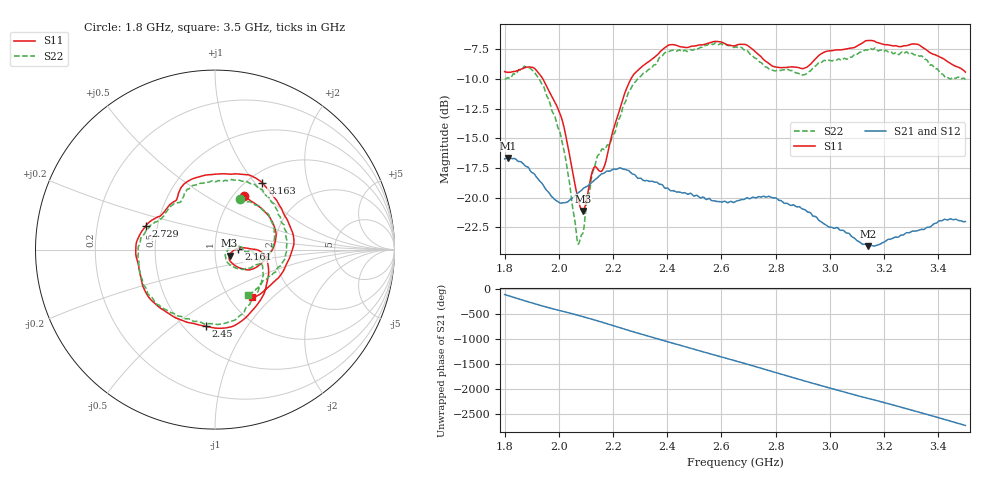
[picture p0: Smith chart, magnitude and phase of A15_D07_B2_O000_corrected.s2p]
! Created with skrf 1.9.0 (http://scikit-rf.org).
# Hz S RI R 50.0
!freq ReS11 ImS11 ReS21 ImS21 ReS12 ImS12 ReS22 ImS22
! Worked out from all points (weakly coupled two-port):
!   1601 points, 1.8 GHz to 3.5 GHz, reference 50 ohm
!   highest |S21| = -16.66 dB at 1.812 GHz (marker M1); lowest = -24.1 dB at 3.142 GHz (marker M2)
!   lowest |S11| = -21.1 dB at 2.088 GHz (marker M3), VSWR 1.19, Z = 58.7 - j3.92 ohm
!   |S11| at or under -10 dB: 1.941 GHz to 2.266 GHz (325.3 MHz wide, 15.5 % of centre)
!   |S22| runs from -23.9 to -7.0 dB; largest |S21 - S12| = 0.0027
!   S11 on the Smith chart (normalised r, x): 1.8 GHz: 1.12, +0.75; 2.161 GHz: 1.30, +0.01; 2.45 GHz: 0.63, -0.66; 2.729 GHz: 0.43, +0.14; 3.163 GHz: 1.16, +1.09; 3.5 GHz: 1.27, -0.76
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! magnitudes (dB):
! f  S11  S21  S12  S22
! 1.8 GHz  -9.4  -16.7  -16.7  -10.0
! 1.812 GHz  -9.5  -16.7  -16.7  -9.9
! 1.88 GHz  -9.0  -17.4  -17.4  -9.1
! 1.942 GHz  -10.1  -18.9  -18.9  -10.6
! 2.011 GHz  -13.4  -20.4  -20.4  -15.3
! 2.067 GHz  -19.7  -19.7  -19.7  -23.4
! 2.084 GHz  -21.0  -19.4  -19.3  -23.1
! 2.088 GHz  -21.1  -19.3  -19.3  -23.0
! 2.127 GHz  -17.6  -18.6  -18.6  -17.7
! 2.161 GHz  -17.7  -18.0  -17.9  -15.9
! 2.261 GHz  -10.2  -17.8  -17.8  -11.0
! 2.367 GHz  -7.9  -18.8  -18.7  -8.4
! 2.45 GHz  -7.3  -19.6  -19.6  -7.7
! 2.65 GHz  -7.2  -20.4  -20.3  -7.3
! 2.729 GHz  -7.8  -20.0  -20.0  -8.3
! 2.806 GHz  -9.0  -20.1  -20.1  -9.3
! 2.934 GHz  -8.6  -21.4  -21.4  -9.2
! 3.142 GHz  -6.8  -24.1  -24.0  -7.5
! 3.163 GHz  -6.8  -24.1  -24.1  -7.4
! 3.217 GHz  -7.2  -23.5  -23.5  -7.7
! 3.325 GHz  -7.1  -22.8  -22.7  -8.0
! 3.5 GHz  -9.4  -22.0  -22.0  -10.1
